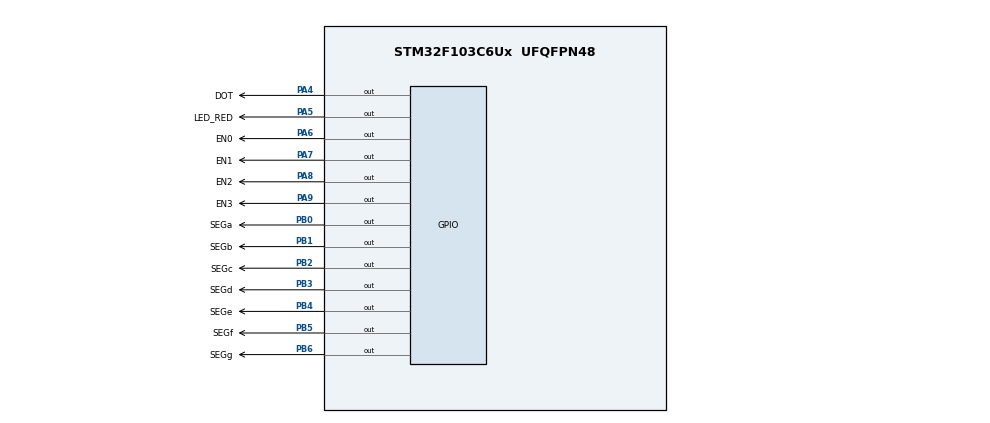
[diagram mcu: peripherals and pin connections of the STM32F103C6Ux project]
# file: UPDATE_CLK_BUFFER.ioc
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Mcu.Family=STM32F1
Mcu.Name=STM32F103C6Ux
Mcu.Package=UFQFPN48
NVIC.PriorityGroup=NVIC_PRIORITYGROUP_4
NVIC.TIM2_IRQn=true\:0\:0\:false\:false\:true\:true\:true
PA4.GPIO_Label=DOT
PA4.Signal=GPIO_Output
PA5.GPIO_Label=LED_RED
PA5.Signal=GPIO_Output
PA6.GPIO_Label=EN0
PA6.Signal=GPIO_Output
PA7.GPIO_Label=EN1
PA7.Signal=GPIO_Output
PA8.GPIO_Label=EN2
PA8.Signal=GPIO_Output
PA9.GPIO_Label=EN3
PA9.Signal=GPIO_Output
PB0.GPIO_Label=SEGa
PB0.Signal=GPIO_Output
PB1.GPIO_Label=SEGb
PB1.Signal=GPIO_Output
PB2.GPIO_Label=SEGc
PB2.Signal=GPIO_Output
PB3.GPIO_Label=SEGd
PB3.Signal=GPIO_Output
PB4.GPIO_Label=SEGe
PB4.Signal=GPIO_Output
PB5.GPIO_Label=SEGf
PB5.Signal=GPIO_Output
PB6.GPIO_Label=SEGg
PB6.Signal=GPIO_Output
ProjectManager.HeapSize=0x200
ProjectManager.StackSize=0x400
ProjectManager.TargetToolchain=STM32CubeIDE
RCC.APB1Freq_Value=8000000
RCC.APB2Freq_Value=8000000
TIM2.Period=9
TIM2.Prescaler=7999
VP_SYS_VS_ND.Mode=No_Debug
VP_TIM2_VS_ClockSourceINT.Mode=Internal
board=custom

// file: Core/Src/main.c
/* USER CODE BEGIN Header */
/**
  ******************************************************************************
  * @file           : main.c
  * @brief          : Main program body
  ******************************************************************************
  * @attention
  *
  * <h2><center>&copy; Copyright (c) 2023 STMicroelectronics.
  * All rights reserved.</center></h2>
  *
  * This software component is licensed by ST under BSD 3-Clause license,
  * the "License"; You may not use this file except in compliance with the
  * License. You may obtain a copy of the License at:
  *                        opensource.org/licenses/BSD-3-Clause
  *
  ******************************************************************************
  */
/* USER CODE END Header */
#include "main.h"

TIM_HandleTypeDef htim2;

void SystemClock_Config(void);
static void MX_GPIO_Init(void);
static void MX_TIM2_Init(void);

/* USER CODE BEGIN 0 */
void display7SEG(int num){
	const uint8_t sevenSegment[10] = {	0b00111111, // 0
										0b00000110, // 1
										0b01011011, // 2
										0b01001111, // 3
										0b01100110, // 4
										0b01101101, // 5
										0b01111101, // 6
										0b00000111, // 7
										0b01111111, // 8
										0b01101111  // 9
	};
	HAL_GPIO_WritePin(SEGa_GPIO_Port, SEGa_Pin, ((sevenSegment[num]) & 0x01) ? RESET : SET);
	HAL_GPIO_WritePin(SEGb_GPIO_Port, SEGb_Pin, ((sevenSegment[num] >> 1) & 0x01) ? RESET : SET);
	HAL_GPIO_WritePin(SEGc_GPIO_Port, SEGc_Pin, ((sevenSegment[num] >> 2) & 0x01) ? RESET : SET);
	HAL_GPIO_WritePin(SEGd_GPIO_Port, SEGd_Pin, ((sevenSegment[num] >> 3) & 0x01) ? RESET : SET);
	HAL_GPIO_WritePin(SEGe_GPIO_Port, SEGe_Pin, ((sevenSegment[num] >> 4) & 0x01) ? RESET : SET);
	HAL_GPIO_WritePin(SEGf_GPIO_Port, SEGf_Pin, ((sevenSegment[num] >> 5) & 0x01) ? RESET : SET);
	HAL_GPIO_WritePin(SEGg_GPIO_Port, SEGg_Pin, ((sevenSegment[num] >> 6) & 0x01) ? RESET : SET);
}

const int MAX_LED = 4;
int index_led = 0;
int led_buffer[4] = {2, 0, 2, 3};
void update7SEG(int index){
	display7SEG(led_buffer[index]);
    switch (index){
	case 0:
		//Display the first 7SEG with led_buffer[0]
		HAL_GPIO_WritePin(EN0_GPIO_Port, EN0_Pin, RESET);
		HAL_GPIO_WritePin(EN1_GPIO_Port, EN1_Pin, SET);
		HAL_GPIO_WritePin(EN2_GPIO_Port, EN2_Pin, SET);
		HAL_GPIO_WritePin(EN3_GPIO_Port, EN3_Pin, SET);
		break;
	case 1:
		//Display the second 7SEG with led_buffer[1]
		HAL_GPIO_WritePin(EN0_GPIO_Port, EN0_Pin, SET);
		HAL_GPIO_WritePin(EN1_GPIO_Port, EN1_Pin, RESET);
		HAL_GPIO_WritePin(EN2_GPIO_Port, EN2_Pin, SET);
		HAL_GPIO_WritePin(EN3_GPIO_Port, EN3_Pin, SET);
		break;
	case 2:
		//Display the third 7SEG with led_buffer[2]
		HAL_GPIO_WritePin(EN0_GPIO_Port, EN0_Pin, SET);
		HAL_GPIO_WritePin(EN1_GPIO_Port, EN1_Pin, SET);
		HAL_GPIO_WritePin(EN2_GPIO_Port, EN2_Pin, RESET);
		HAL_GPIO_WritePin(EN3_GPIO_Port, EN3_Pin, SET);
		break;
	case 3:
		//Display the forth 7SEG with led_buffer[3]
		HAL_GPIO_WritePin(EN0_GPIO_Port, EN0_Pin, SET);
		HAL_GPIO_WritePin(EN1_GPIO_Port, EN1_Pin, SET);
		HAL_GPIO_WritePin(EN2_GPIO_Port, EN2_Pin, SET);
		HAL_GPIO_WritePin(EN3_GPIO_Port, EN3_Pin, RESET);
		break;
	default:
		break;
    }
}

void updateClockBuffer(int hour, int minute){
	led_buffer[0] = hour / 10;
	led_buffer[1] = hour % 10;
	led_buffer[2] = minute / 10;
	led_buffer[3] = minute % 10;
}
/* USER CODE END 0 */

int main(void)
{

  /* MCU Configuration--------------------------------------------------------*/

  /* Reset of all peripherals, Initializes the Flash interface and the Systick. */
  HAL_Init();

  /* Configure the system clock */
  SystemClock_Config();

  /* Initialize all configured peripherals */
  MX_GPIO_Init();
  MX_TIM2_Init();
  /* USER CODE BEGIN 2 */
  HAL_TIM_Base_Start_IT(&htim2);
  /* USER CODE END 2 */

  /* Infinite loop */
  /* USER CODE BEGIN WHILE */
  int hour = 15, minute = 8, second = 50;
  while (1)
  {
    /* USER CODE END WHILE */

    /* USER CODE BEGIN 3 */
	second++;
	if (second >= 60){
		second = 0;
		minute++;
	}
	if(minute >= 60){
		minute = 0;
		hour++;
	}
	if(hour >=24){
		hour = 0;
	}
	updateClockBuffer(hour, minute);
	HAL_Delay(1000);
  }
  /* USER CODE END 3 */
}

void SystemClock_Config(void)
{
  RCC_OscInitTypeDef RCC_OscInitStruct = {0};
  RCC_ClkInitTypeDef RCC_ClkInitStruct = {0};

  /** Initializes the RCC Oscillators according to the specified parameters
  * in the RCC_OscInitTypeDef structure.
  */
  RCC_OscInitStruct.OscillatorType = RCC_OSCILLATORTYPE_HSI;
  RCC_OscInitStruct.HSIState = RCC_HSI_ON;
  RCC_OscInitStruct.HSICalibrationValue = RCC_HSICALIBRATION_DEFAULT;
  RCC_OscInitStruct.PLL.PLLState = RCC_PLL_NONE;
  if (HAL_RCC_OscConfig(&RCC_OscInitStruct) != HAL_OK)
  {
    Error_Handler();
  }
  /** Initializes the CPU, AHB and APB buses clocks
  */
  RCC_ClkInitStruct.ClockType = RCC_CLOCKTYPE_HCLK|RCC_CLOCKTYPE_SYSCLK
                              |RCC_CLOCKTYPE_PCLK1|RCC_CLOCKTYPE_PCLK2;
  RCC_ClkInitStruct.SYSCLKSource = RCC_SYSCLKSOURCE_HSI;
  RCC_ClkInitStruct.AHBCLKDivider = RCC_SYSCLK_DIV1;
  RCC_ClkInitStruct.APB1CLKDivider = RCC_HCLK_DIV1;
  RCC_ClkInitStruct.APB2CLKDivider = RCC_HCLK_DIV1;

  if (HAL_RCC_ClockConfig(&RCC_ClkInitStruct, FLASH_LATENCY_0) != HAL_OK)
  {
    Error_Handler();
  }
}

static void MX_TIM2_Init(void)
{

  TIM_ClockConfigTypeDef sClockSourceConfig = {0};
  TIM_MasterConfigTypeDef sMasterConfig = {0};

  htim2.Instance = TIM2;
  htim2.Init.Prescaler = 7999;
  htim2.Init.CounterMode = TIM_COUNTERMODE_UP;
  htim2.Init.Period = 9;
  htim2.Init.ClockDivision = TIM_CLOCKDIVISION_DIV1;
  htim2.Init.AutoReloadPreload = TIM_AUTORELOAD_PRELOAD_DISABLE;
  if (HAL_TIM_Base_Init(&htim2) != HAL_OK)
  {
    Error_Handler();
  }
  sClockSourceConfig.ClockSource = TIM_CLOCKSOURCE_INTERNAL;
  if (HAL_TIM_ConfigClockSource(&htim2, &sClockSourceConfig) != HAL_OK)
  {
    Error_Handler();
  }
  sMasterConfig.MasterOutputTrigger = TIM_TRGO_RESET;
  sMasterConfig.MasterSlaveMode = TIM_MASTERSLAVEMODE_DISABLE;
  if (HAL_TIMEx_MasterConfigSynchronization(&htim2, &sMasterConfig) != HAL_OK)
  {
    Error_Handler();
  }

}

static void MX_GPIO_Init(void)
{
  GPIO_InitTypeDef GPIO_InitStruct = {0};

  /* GPIO Ports Clock Enable */
  __HAL_RCC_GPIOA_CLK_ENABLE();
  __HAL_RCC_GPIOB_CLK_ENABLE();

  /*Configure GPIO pin Output Level */
  HAL_GPIO_WritePin(GPIOA, DOT_Pin|LED_RED_Pin|EN0_Pin|EN1_Pin
                          |EN2_Pin|EN3_Pin, GPIO_PIN_RESET);

  /*Configure GPIO pin Output Level */
  HAL_GPIO_WritePin(GPIOB, SEGa_Pin|SEGb_Pin|SEGc_Pin|SEGd_Pin
                          |SEGe_Pin|SEGf_Pin|SEGg_Pin, GPIO_PIN_RESET);

  /*Configure GPIO pins : DOT_Pin LED_RED_Pin EN0_Pin EN1_Pin
                           EN2_Pin EN3_Pin */
  GPIO_InitStruct.Pin = DOT_Pin|LED_RED_Pin|EN0_Pin|EN1_Pin
                          |EN2_Pin|EN3_Pin;
  GPIO_InitStruct.Mode = GPIO_MODE_OUTPUT_PP;
  GPIO_InitStruct.Pull = GPIO_NOPULL;
  GPIO_InitStruct.Speed = GPIO_SPEED_FREQ_LOW;
  HAL_GPIO_Init(GPIOA, &GPIO_InitStruct);

  /*Configure GPIO pins : SEGa_Pin SEGb_Pin SEGc_Pin SEGd_Pin
                           SEGe_Pin SEGf_Pin SEGg_Pin */
  GPIO_InitStruct.Pin = SEGa_Pin|SEGb_Pin|SEGc_Pin|SEGd_Pin
                          |SEGe_Pin|SEGf_Pin|SEGg_Pin;
  GPIO_InitStruct.Mode = GPIO_MODE_OUTPUT_PP;
  GPIO_InitStruct.Pull = GPIO_NOPULL;
  GPIO_InitStruct.Speed = GPIO_SPEED_FREQ_LOW;
  HAL_GPIO_Init(GPIOB, &GPIO_InitStruct);

}

/* USER CODE BEGIN 4 */
int counter1 = 0, counter2 = 0;
void HAL_TIM_PeriodElapsedCallback(TIM_HandleTypeDef *htim){
	counter1--;
	if(counter1 <= 0){
		counter1 = 25;
		update7SEG(index_led++);
		if(index_led == MAX_LED){
			index_led = 0;
		}
	}
	counter2--;
	if(counter2 <= 0){
		counter2 = 50;
		HAL_GPIO_TogglePin(DOT_GPIO_Port, DOT_Pin);
	}
}
/* USER CODE END 4 */

void Error_Handler(void)
{
  __disable_irq();
  while (1)
  {
  }
}

/************************ (C) COPYRIGHT STMicroelectronics *****END OF FILE****/
